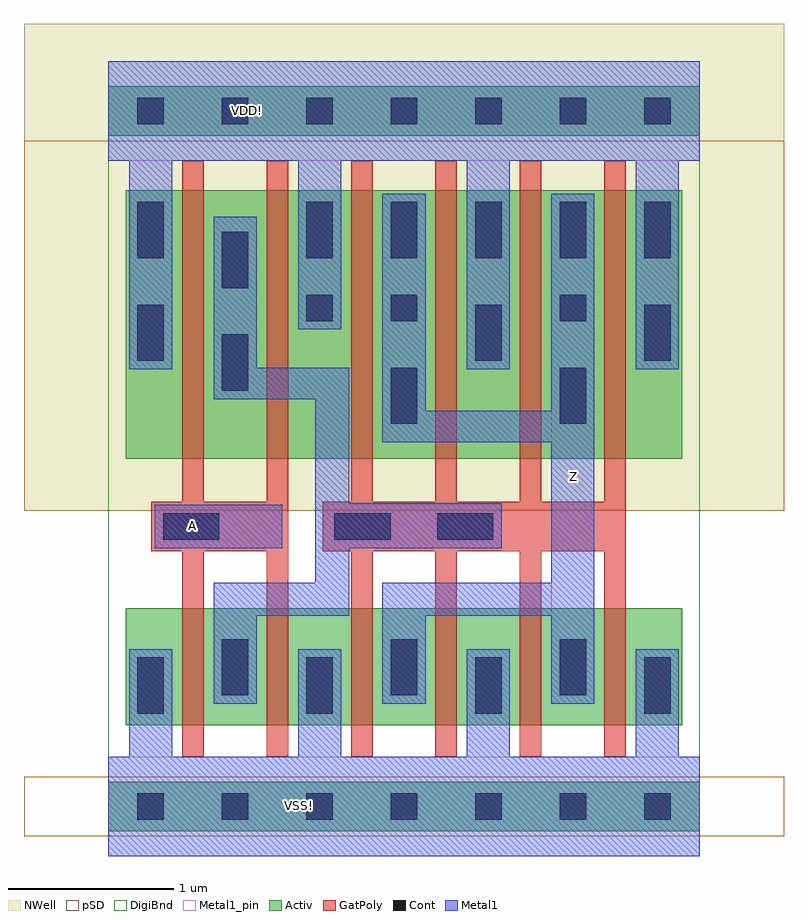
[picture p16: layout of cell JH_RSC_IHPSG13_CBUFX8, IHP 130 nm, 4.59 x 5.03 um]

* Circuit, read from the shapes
.subckt JH_RSC_IHPSG13_CBUFX8 A VDD! VSS! Z
XM1 n1 A VSS! VSS! sg13_lv_nmos w=0.705u l=0.13u m=2
XM2 Z n1 VSS! VSS! sg13_lv_nmos w=0.705u l=0.13u m=4
XM3 n1 A VDD! VDD! sg13_lv_pmos w=1.62u l=0.13u m=2
XM4 Z n1 VDD! VDD! sg13_lv_pmos w=1.62u l=0.13u m=4
.ends

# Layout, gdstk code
import gdstk
lib = gdstk.Library(unit=1e-6, precision=1e-09)
def R(c, l, rs):  # rectangles x0, y0, x1, y1
    for r in rs: c.add(gdstk.rectangle(r[:2], r[2:], *l))
def A(c, l, x, y, w, h, nx, ny, dx, dy):  # array of equal rectangles
    R(c, l, [(x+i*dx, y+j*dy, x+i*dx+w, y+j*dy+h) for i in range(nx) for j in range(ny)])
def P(c, l, *ps):  # polygons
    for p in ps: c.add(gdstk.Polygon(p, *l))
Activ = (1, 0)
GatPoly = (5, 0)
Cont = (6, 0)
Metal1 = (8, 0)
Metal1_pin = (8, 2)
pSD = (14, 0)
DigiBnd = (16, 0)
NWell = (31, 0)

jh_rsc_ihpsg13_cbufx8 = lib.new_cell('JH_RSC_IHPSG13_CBUFX8')
R(jh_rsc_ihpsg13_cbufx8, Activ, [(0,-0.15,3.57,0.15), (0.105,0.49,3.465,1.195), (0.105,2.1,3.465,3.72), (0,4.05,3.57,4.35)])
P(jh_rsc_ihpsg13_cbufx8, GatPoly, [(0.445,0.3),(0.445,1.54),(0.26,1.54),(0.26,1.84),(0.445,1.84),(0.445,3.9),(0.575,3.9),(0.575,1.84),(0.955,1.84),(0.955,3.9),(1.085,3.9),(1.085,0.3),(0.955,0.3),(0.955,1.54),(0.575,1.54),(0.575,0.3)],
  [(1.465,0.3),(1.465,1.54),(1.295,1.54),(1.295,1.84),(1.465,1.84),(1.465,3.9),(1.595,3.9),(1.595,1.84),(1.975,1.84),(1.975,3.9),(2.105,3.9),(2.105,1.84),(2.485,1.84),(2.485,3.9),(2.615,3.9),(2.615,1.84),(2.995,1.84),(2.995,3.9),(3.125,3.9),(3.125,0.3),(2.995,0.3),(2.995,1.54),(2.615,1.54),(2.615,0.3),(2.485,0.3),(2.485,1.54),(2.105,1.54),(2.105,0.3),(1.975,0.3),(1.975,1.54),(1.595,1.54),(1.595,0.3)])
A(jh_rsc_ihpsg13_cbufx8, Cont, 0.175, -0.08, 0.16, 0.16, 7, 2, 0.51, 4.2)
A(jh_rsc_ihpsg13_cbufx8, Cont, 0.175, 0.56, 0.16, 0.34, 4, 1, 1.02, 0)
A(jh_rsc_ihpsg13_cbufx8, Cont, 0.685, 0.67, 0.16, 0.34, 3, 1, 1.02, 0)
A(jh_rsc_ihpsg13_cbufx8, Cont, 1.195, 3.31, 0.16, 0.34, 5, 1, 0.51, 0)
R(jh_rsc_ihpsg13_cbufx8, Cont, [(0.33,1.61,0.67,1.77), (1.365,1.61,1.705,1.77), (1.985,1.61,2.325,1.77), (1.705,2.31,1.865,2.65), (2.725,2.31,2.885,2.65), (0.685,2.51,0.845,2.85), (0.175,2.69,0.335,3.03), (2.215,2.69,2.375,3.03), (3.235,2.69,3.395,3.03), (1.195,2.93,1.355,3.09), (1.705,2.93,1.865,3.09), (2.725,2.93,2.885,3.09), (0.685,3.13,0.845,3.47), (0.175,3.31,0.335,3.65)])
R(jh_rsc_ihpsg13_cbufx8, Metal1, [(0.28,1.56,1.05,1.82)])
P(jh_rsc_ihpsg13_cbufx8, Metal1, [(0.125,2.64),(0.125,3.9),(0,3.9),(0,4.5),(3.57,4.5),(3.57,3.9),(3.445,3.9),(3.445,2.64),(3.185,2.64),(3.185,3.9),(2.425,3.9),(2.425,2.64),(2.165,2.64),(2.165,3.9),(1.405,3.9),(1.405,2.88),(1.145,2.88),(1.145,3.9),(0.385,3.9),(0.385,2.64)],
  [(0.635,0.62),(0.635,1.35),(1.25,1.35),(1.25,2.46),(0.635,2.46),(0.635,3.56),(0.895,3.56),(0.895,2.65),(1.455,2.65),(1.455,1.83),(2.375,1.83),(2.375,1.56),(1.455,1.56),(1.455,1.15),(0.895,1.15),(0.895,0.62)],
  [(1.655,0.62),(1.655,1.35),(2.675,1.35),(2.675,2.2),(1.655,2.2),(1.655,3.7),(1.915,3.7),(1.915,2.39),(2.675,2.39),(2.675,3.7),(2.935,3.7),(2.935,0.62),(2.675,0.62),(2.675,1.15),(1.915,1.15),(1.915,0.62)],
  [(0,-0.3),(0,0.3),(0.125,0.3),(0.125,0.95),(0.385,0.95),(0.385,0.3),(1.145,0.3),(1.145,0.95),(1.405,0.95),(1.405,0.3),(2.165,0.3),(2.165,0.95),(2.425,0.95),(2.425,0.3),(3.185,0.3),(3.185,0.95),(3.445,0.95),(3.445,0.3),(3.57,0.3),(3.57,-0.3)])
R(jh_rsc_ihpsg13_cbufx8, Metal1_pin, [(0,-0.3,3.57,0.3), (2.675,0.62,2.935,3.7), (0.28,1.56,1.05,1.82), (0,3.9,3.57,4.5)])
R(jh_rsc_ihpsg13_cbufx8, pSD, [(-0.51,-0.18,4.08,0.18), (-0.51,1.785,4.08,4.02)])
R(jh_rsc_ihpsg13_cbufx8, DigiBnd, [(0,-0.3,3.57,4.5)])
R(jh_rsc_ihpsg13_cbufx8, NWell, [(-0.51,1.785,4.08,4.725)])
jh_rsc_ihpsg13_cbufx8.add(gdstk.Label('A', (0.51,1.695), layer=8, texttype=2))
jh_rsc_ihpsg13_cbufx8.add(gdstk.Label('Z', (2.806,1.995), layer=8, texttype=2))
jh_rsc_ihpsg13_cbufx8.add(gdstk.Label('VSS!', (1.155,0.005), layer=8, texttype=2))
jh_rsc_ihpsg13_cbufx8.add(gdstk.Label('VDD!', (0.84,4.2), layer=8, texttype=2))

lib.write_gds('JH_RSC_IHPSG13_CBUFX8.gds')
